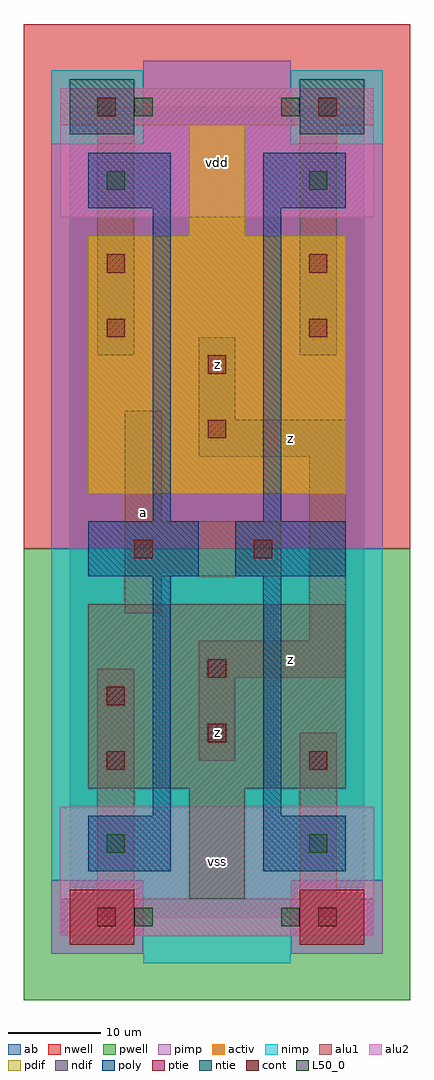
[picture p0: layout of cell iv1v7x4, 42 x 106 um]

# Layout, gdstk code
import gdstk
lib = gdstk.Library(unit=1e-6, precision=1e-09)
def R(c, l, rs):  # rectangles x0, y0, x1, y1
    for r in rs: c.add(gdstk.rectangle(r[:2], r[2:], *l))
ndif = (3, 0)
pdif = (4, 0)
ntie = (5, 0)
ptie = (6, 0)
cont = (25, 0)
pwell = (41, 0)
nwell = (42, 0)
activ = (43, 0)
pimp = (44, 0)
nimp = (45, 0)
poly = (46, 0)
alu1 = (49, 0)
L50_0 = (50, 0)
alu2 = (51, 0)
ab = (63, 0)

iv1v7x4 = lib.new_cell('iv1v7x4')
R(iv1v7x4, ndif, [(13,2,19,14), (2,14,30,34)])
R(iv1v7x4, pdif, [(2,46,30,74), (13,74,19,86)])
R(iv1v7x4, ntie, [(0,85,7,91), (25,85,32,91)])
R(iv1v7x4, ptie, [(0,-3,7,3), (25,-3,32,3)])
R(iv1v7x4, cont, [(3,-1,5,1), (27,-1,29,1), (4,16,6,18), (26,16,28,18), (15,19,17,21), (4,23,6,25), (15,26,17,28), (7,39,9,41), (20,39,22,41), (15,52,17,54), (15,59,17,61), (4,63,6,65), (26,63,28,65), (4,70,6,72), (26,70,28,72), (3,87,5,89), (27,87,29,89)])
R(iv1v7x4, pwell, [(-5,-9,37,40)])
R(iv1v7x4, nwell, [(-5,40,37,97)])
R(iv1v7x4, activ, [(0,-3,7,3), (25,-3,32,3), (13,2,19,14), (2,14,30,34), (2,46,30,74), (13,74,19,86), (0,85,7,91), (25,85,32,91)])
R(iv1v7x4, pimp, [(-2,-4,8,4), (24,-4,34,4), (-2,40,34,84), (8,84,24,93)])
R(iv1v7x4, nimp, [(8,-5,24,4), (-2,4,34,40), (-2,84,8,92), (24,84,34,92)])
R(iv1v7x4, poly, [(2,5,11,11), (21,5,30,11), (9,11,11,37), (21,11,23,37), (2,37,14,43), (18,37,30,43), (9,43,11,77), (21,43,23,77), (2,77,11,83), (21,77,30,83)])
R(iv1v7x4, alu1, [(-1,-2,33,2), (3,2,7,27), (25,2,29,20), (14,17,18,26), (14,26,30,30), (26,30,30,50), (6,33,10,37), (6,37,23,43), (6,43,10,55), (14,50,30,54), (14,54,18,63), (3,61,7,86), (25,61,29,86), (-1,86,33,90)])
R(iv1v7x4, L50_0, [(7,-1,9,1), (23,-1,25,1), (4,7,6,9), (26,7,28,9), (4,79,6,81), (26,79,28,81), (7,87,9,89), (23,87,25,89)])
R(iv1v7x4, alu2, [(-1,-2,33,12), (-1,76,33,90)])
R(iv1v7x4, ab, [(0,0,32,88)])
iv1v7x4.add(gdstk.Label('a', (8,44), layer=49, texttype=0))
iv1v7x4.add(gdstk.Label('z', (16,20), layer=49, texttype=0))
iv1v7x4.add(gdstk.Label('z', (16,60), layer=49, texttype=0))
iv1v7x4.add(gdstk.Label('z', (24,28), layer=49, texttype=0))
iv1v7x4.add(gdstk.Label('z', (24,52), layer=49, texttype=0))
iv1v7x4.add(gdstk.Label('vss', (16,6), layer=51, texttype=0))
iv1v7x4.add(gdstk.Label('vss', (16,6), layer=51, texttype=0))
iv1v7x4.add(gdstk.Label('vdd', (16,82), layer=51, texttype=0))

lib.write_gds('iv1v7x4.gds')
